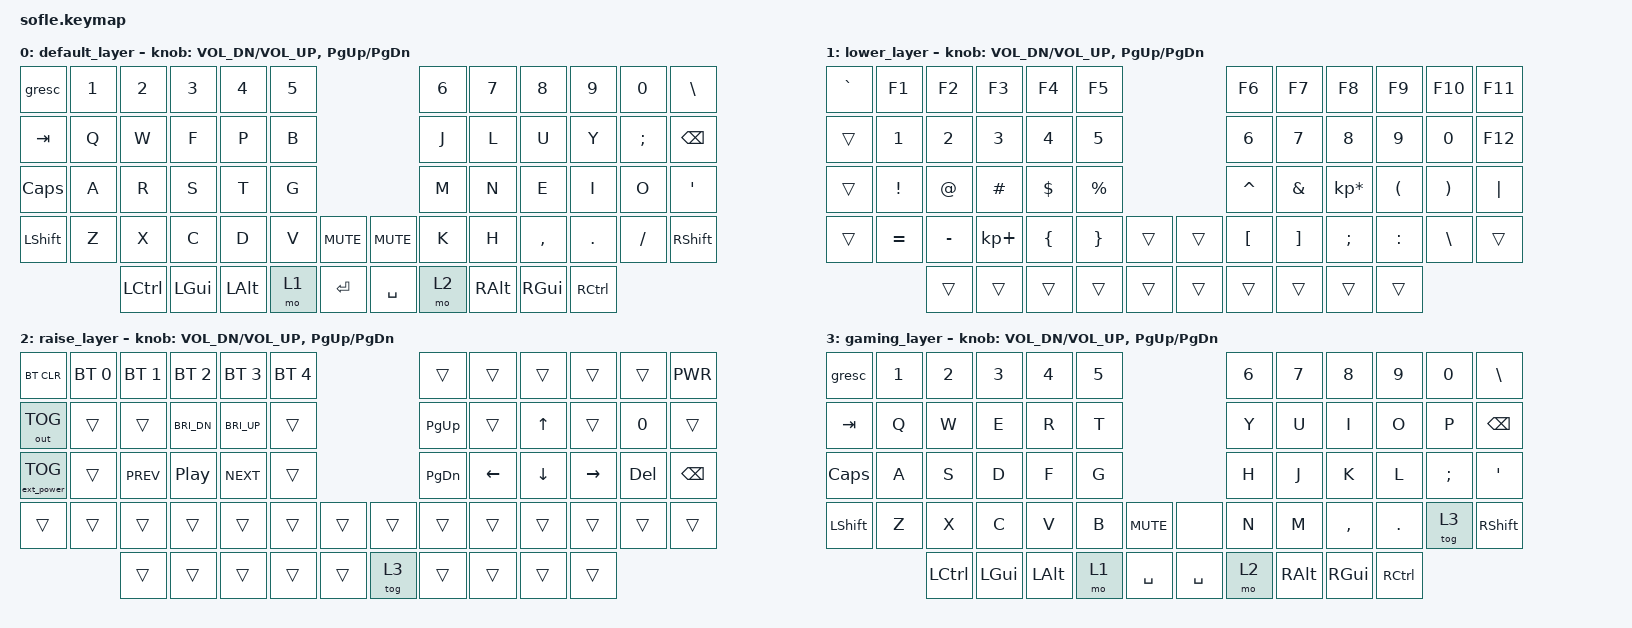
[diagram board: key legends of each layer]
/*
 * Copyright (c) 2020 The ZMK Contributors
 *
 * SPDX-License-Identifier: MIT
 */
 #define gaming_layer   3

#include <behaviors.dtsi>
#include <dt-bindings/zmk/keys.h>
#include <dt-bindings/zmk/bt.h>

/ {
    keymap {
        compatible = "zmk,keymap";

        default_layer {
// ------------------------------------------------------------------------------------------------------------
// |  ESC  |  1  |  2  |  3   |  4   |  5   |                   |  6   |  7    |  8    |  9   |   0   |   \   |
// |  TAB  |  Q  |  W  |  F   |  P   |  B   |                   |  J   |  L    |  U    |  Y   |   ;   | BKSPC |
// |  CAP  |  A  |  R  |  S   |  T   |  G   |                   |  M   |  N    |  E    |  I   |   O   |   '   |
// | SHIFT |  Z  |  X  |  C   |  D   |  V   |  MUTE  |  |       |  K   |  H    |  ,    |  .   |   /   | SHIFT |
//               | CTRL| GUI  | ALT  | LOWER|  ENTER |  | SPACE | RAISE| ALT   | GUI   | CTRL |
            bindings = <
&gresc    &kp N1 &kp N2   &kp N3   &kp N4    &kp N5                      &kp N6 &kp N7    &kp N8    &kp N9   &kp N0   &kp BSLH
&kp TAB   &kp Q  &kp W    &kp F    &kp P     &kp B                       &kp J  &kp L     &kp U     &kp Y    &kp SEMI    &kp BSPC
&kp CLCK  &kp A  &kp R    &kp S    &kp T     &kp G                       &kp M  &kp N     &kp E     &kp I    &kp O &kp SQT
&kp LSHFT &kp Z  &kp X    &kp C    &kp D     &kp V  &kp C_MUTE &kp C_MUTE    &kp K  &kp H     &kp COMMA &kp DOT  &kp FSLH &kp RSHFT
                 &kp LCTRL &kp LGUI &kp LALT &mo 1  &kp RET    &kp SPACE &mo 2  &kp RALT  &kp RGUI  &kp RCTRL
            >;

            sensor-bindings = <&inc_dec_kp C_VOL_DN C_VOL_UP &inc_dec_kp PG_UP PG_DN>;
        };

        lower_layer {
// ------------------------------------------------------------------------------------------------------------
// |       |  F1 |  F2 |  F3  |  F4  |  F5  |                   |  F6  |  F7   |  F8   |  F9  |  F10  |  F11  |
// |       |   1 |   2 |   3  |   4  |   5  |                   |   6  |   7   |   8   |   9  |    0  |  F12  |
// |       |  !  |  @  |  #   |  $   |  %   |                   |  ^   |  &    |  *    |  (   |   )   |   |   |
// |       |  =  |  -  |  +   |  {   |  }   |        |  |       |  [   |  ]    |  ;    |  :   |   \   |       |
//               |     |      |      |      |        |  |       |      |       |       |      |
            bindings = <
&kp GRAVE &kp F1    &kp F2    &kp F3      &kp F4    &kp F5                    &kp F6    &kp F7   &kp F8          &kp F9    &kp F10   &kp F11
&trans    &kp N1    &kp N2    &kp N3      &kp N4    &kp N5                    &kp N6    &kp N7   &kp N8          &kp N9    &kp N0    &kp F12
&trans    &kp EXCL  &kp AT    &kp HASH    &kp DLLR  &kp PRCNT                 &kp CARET &kp AMPS &kp KP_MULTIPLY &kp LPAR  &kp RPAR  &kp PIPE
&trans    &kp EQUAL &kp MINUS &kp KP_PLUS &kp LBRC  &kp RBRC  &trans   &trans &kp LBKT  &kp RBKT &kp SEMI        &kp COLON &kp BSLH  &trans
                    &trans    &trans      &trans    &trans    &trans   &trans &trans    &trans   &trans          &trans
            >;

            sensor-bindings = <&inc_dec_kp C_VOL_DN C_VOL_UP &inc_dec_kp PG_UP PG_DN>;
        };

        raise_layer {
// ------------------------------------------------------------------------------------------------------------
// |BTCLR| BT1  | BT2  |  BT3  |  BT4  |  BT5 |                |      |      |       |      |       |       |
// |TogOut|     |      |BRI UP |BRI DN |      |                | PGUP |      |   ^   |      |       |       |
// |     |      | PREV | PLAY  |  NEXT |      |                | PGDN |   <- |   v   |  ->  |  DEL  | BKSPC |
// |     |      |      |       |       |      |      |  |      |      |      |       |      |       |       |
//              |      |       |       |      |      |  |      |      |      |       |      |
            bindings = <
&bt BT_CLR &bt BT_SEL 0 &bt BT_SEL 1 &bt BT_SEL 2 &bt BT_SEL 3 &bt BT_SEL 4             &trans    &trans    &trans   &trans    &trans  &kp C_PWR
&out OUT_TOG &trans     &trans       &kp C_BRI_DN &kp C_BRI_UP &trans                   &kp PG_UP &trans    &kp UP   &trans    &kp N0  &trans
&ext_power EP_TOG &trans &kp C_PREV   &kp C_PP     &kp C_NEXT   &trans                   &kp PG_DN &kp LEFT  &kp DOWN &kp RIGHT &kp DEL &kp BSPC
&trans     &trans       &trans       &trans       &trans       &trans  &trans   &trans  &trans    &trans    &trans   &trans    &trans  &trans
                        &trans       &trans       &trans       &trans  &trans   &tog 3  &trans    &trans    &trans   &trans
            >;

            sensor-bindings = <&inc_dec_kp C_VOL_DN C_VOL_UP &inc_dec_kp PG_UP PG_DN>;
        };

        gaming_layer {
// ------------------------------------------------------------------------------------------------------------
// |  ESC  |  1  |  2  |  3   |  4   |  5   |                   |  6   |  7    |  8    |  9   |   0   |   \   |
// |  TAB  |  Q  |  W  |  E   |  R   |  T   |                   |  Y   |  U    |  I    |  O   |   P   | BKSPC |
// |  CAP  |  A  |  S  |  D   |  F   |  G   |                   |  H   |  J    |  K    |  L   |   ;   |   '   |
// | SHIFT |  Z  |  X  |  C   |  V   |  B   |  MUTE  |  |       |  N   |  M    |  ,    |  .   |   /   | SHIFT |
//               | CTRL| GUI  | ALT  | LOWER|  SPACE |  | SPACE | RAISE| ALT   | GUI   | CTRL |
            bindings = <
&gresc    &kp N1 &kp N2   &kp N3   &kp N4    &kp N5                      &kp N6 &kp N7    &kp N8    &kp N9   &kp N0   &kp BSLH
&kp TAB   &kp Q  &kp W    &kp E    &kp R     &kp T                       &kp Y  &kp U     &kp I     &kp O    &kp P    &kp BSPC
&kp CLCK  &kp A  &kp S    &kp D    &kp F     &kp G                       &kp H  &kp J     &kp K     &kp L    &kp SEMI &kp SQT
&kp LSHFT &kp Z  &kp X    &kp C    &kp V     &kp B  &kp C_MUTE &none     &kp N  &kp M     &kp COMMA &kp DOT  &tog 3   &kp RSHFT
                 &kp LCTRL &kp LGUI &kp LALT &mo 1  &kp SPACE  &kp SPACE &mo 2  &kp RALT  &kp RGUI  &kp RCTRL
            >;

            sensor-bindings = <&inc_dec_kp C_VOL_DN C_VOL_UP &inc_dec_kp PG_UP PG_DN>;
        };
    };
};
